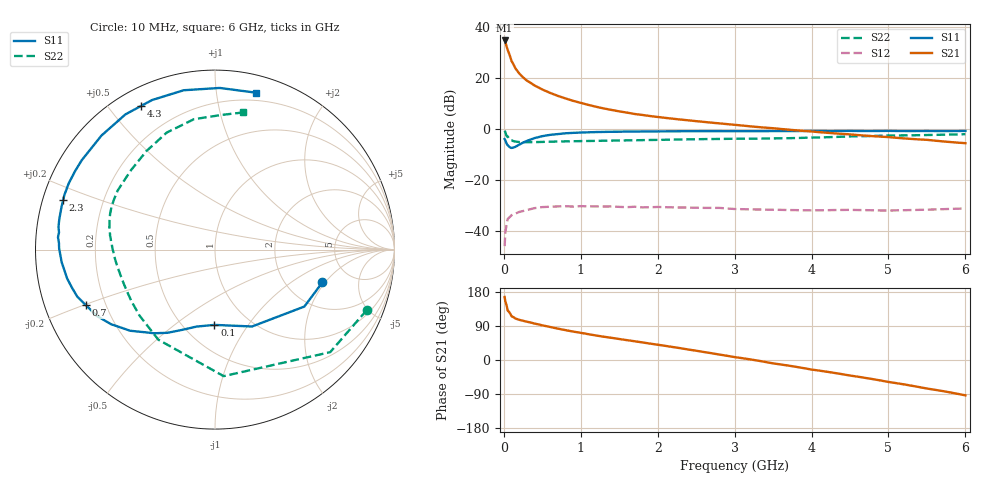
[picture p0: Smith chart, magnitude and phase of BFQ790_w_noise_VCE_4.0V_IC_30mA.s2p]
! Infineon Technologies  Discrete & RF Semiconductors
! BFQ790
! VCE =  4.0 V,  IC =  30 mA
! Common Emitter S-Parameters:  May 2015
# GHz  S  MA  R  50
!  f  S11  S21  S12  S22
! GHz  MAG  ANG  MAG  ANG  MAG  ANG  MAG  ANG
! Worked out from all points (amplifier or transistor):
!   77 points, 10 MHz to 6 GHz, reference 50 ohm
!   highest |S21| = 34.5 dB at 10 MHz (marker M1)
!   |S21| within 3 dB of that: start of sweep to 42.52 MHz
!   unconditionally stable (mu >= 1): 1.687 GHz to end of sweep
!   at 130 MHz: K = 0.69, MSG = 29.2 dB, |S12| = -33.5 dB
!   at 2.2 GHz: K = 1.09, MAG = 15.5 dB, |S12| = -30.8 dB
!   at 6 GHz: K = 2.07, MAG = 6.9 dB, |S12| = -31.2 dB
!   lowest NFmin = 2.11 dB at 900 MHz
!   S11 on the Smith chart (normalised r, x): 10 MHz: 3.13, -1.87; 100 MHz: 0.70, -0.71; 700 MHz: 0.13, -0.20; 2.3 GHz: 0.06, +0.16; 4.3 GHz: 0.07, +0.61; 6 GHz: 0.14, +1.28
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0.01  0.6258 -16.9  53.3 166.3  0.005 63.2  0.9098 -21.8
0.02  0.5904 -32.5  49.46 154.1  0.0094 62.4  0.8593 -41.7
0.05  0.4756 -64.3  34.7 130.6  0.017 39.4  0.7066 -86.1
0.1  0.4195 -90.5  21.13 115.4  0.0202 26.2  0.5929 -122.2
0.15  0.4408 -103.4  15.19 109.6  0.0217 21.8  0.5585 -139.0
0.2  0.4864 -112.8  12.05 106.0  0.0234 20.7  0.547 -148.4
0.25  0.5336 -119.7  10.09 103.5  0.0244 17.6  0.5427 -154.5
0.3  0.5762 -126.0  8.713 101.0  0.0255 15.7  0.5426 -158.9
0.4  0.6544 -136.3  6.99 96.1  0.0278 11.9  0.5454 -164.8
0.5  0.7126 -144.3  5.841 91.5  0.0291 7.5  0.5497 -168.7
0.6  0.7557 -150.8  5.028 87.2  0.0296 4.8  0.555 -172.0
0.7  0.7822 -156.6  4.387 82.9  0.03 1.5  0.5593 -174.5
0.9  0.8265 -165.6  3.506 75.0  0.0298 -4.9  0.5665 -178.6
1.1  0.8479 -172.5  2.915 68.1  0.0301 -7.6  0.5735 178.3
1.5  0.8703 177.5  2.179 55.4  0.0294 -15.1  0.5854 173.5
2.1  0.8856 166.1  1.625 37.3  0.029 -23.9  0.606 166.0
2.3  0.8897 162.0  1.506 31.0  0.0286 -27.2  0.6133 162.9
3.1  0.8918 143.9  1.149 4.8  0.0265 -38.4  0.634 146.4
4.1  0.9012 121.4  0.854 -28.0  0.0252 -46.0  0.6736 122.2
4.3  0.9001 117.1  0.808 -34.2  0.0255 -47.0  0.6868 117.2
5.1  0.9004 98.6  0.663 -61.0  0.0251 -54.1  0.7364 96.8
6  0.9034 75.4  0.52 -93.3  0.0274 -64.3  0.7797 78.5
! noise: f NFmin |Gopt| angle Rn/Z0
0.45  2.49  0.31  99  0.34
0.9  2.11  0.46  151  0.14
1.5  2.31  0.64  179  0.07
1.8  2.6  0.67  -174  0.07
2.6  3.46  0.74  -156  0.2
3.5  4.21  0.87  -138  0.62
